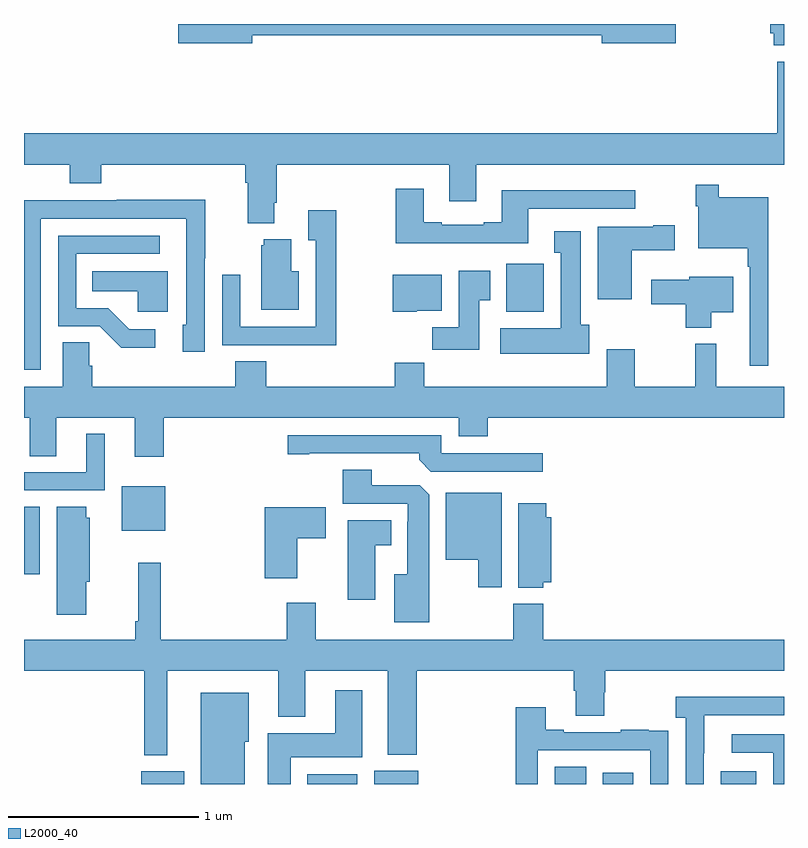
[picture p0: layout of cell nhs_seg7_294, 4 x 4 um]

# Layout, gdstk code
import gdstk
lib = gdstk.Library(unit=1e-6, precision=1e-09)
def R(c, l, rs):  # rectangles x0, y0, x1, y1
    for r in rs: c.add(gdstk.rectangle(r[:2], r[2:], *l))
def P(c, l, *ps):  # polygons
    for p in ps: c.add(gdstk.Polygon(p, *l))
L2000_40 = (2000, 40)

nhs_seg7_294 = lib.new_cell('nhs_seg7_294')
R(nhs_seg7_294, L2000_40, [(133.616,1020,133.843,1020.067), (134.492,1020,134.755,1020.052), (134.843,1020,135.076,1020.07), (135.794,1020,135.958,1020.092), (136.046,1020,136.207,1020.058), (136.667,1020,136.855,1020.067), (133,1021.104,133.084,1021.46), (133.514,1021.334,133.744,1021.567), (135.539,1022.486,135.735,1022.737)])
P(nhs_seg7_294, L2000_40, [(134.2,1023.94),(136.04,1023.94),(136.04,1023.898),(136.429,1023.898),(136.429,1024),(133.812,1024),(133.812,1023.898),(134.2,1023.898)],
  [(137,1024),(136.928,1024),(136.928,1023.951),(136.946,1023.951),(136.946,1023.887),(137,1023.887)],
  [(133,1023.26),(133.241,1023.26),(133.241,1023.161),(133.406,1023.161),(133.406,1023.26),(134.165,1023.26),(134.165,1023.164),(134.177,1023.164),(134.177,1022.951),(134.317,1022.951),(134.317,1023.058),(134.33,1023.058),(134.33,1023.26),(135.239,1023.26),(135.239,1023.066),(135.379,1023.066),(135.379,1023.26),(137,1023.26),(137,1023.802),(136.964,1023.802),(136.964,1023.424),(133,1023.424)],
  [(136.918,1023.088),(136.657,1023.088),(136.657,1023.154),(136.536,1023.154),(136.536,1023.041),(136.548,1023.041),(136.548,1022.819),(136.809,1022.819),(136.809,1022.723),(136.821,1022.723),(136.821,1022.202),(136.918,1022.202)],
  [(135.655,1023.027),(136.216,1023.027),(136.216,1023.124),(135.515,1023.124),(135.515,1022.956),(135.419,1022.956),(135.419,1022.943),(135.199,1022.943),(135.199,1022.956),(135.103,1022.956),(135.103,1023.133),(134.956,1023.133),(134.956,1022.846),(135.655,1022.846)],
  [(133.089,1022.976),(133.853,1022.976),(133.853,1022.722),(133.854,1022.722),(133.854,1022.418),(133.835,1022.418),(133.835,1022.274),(133.95,1022.274),(133.95,1022.767),(133.953,1022.767),(133.953,1023.074),(133.489,1023.074),(133.489,1023.072),(133,1023.072),(133,1022.181),(133.089,1022.181)],
  [(134.644,1023.019),(134.495,1023.019),(134.495,1022.863),(134.535,1022.863),(134.535,1022.406),(134.139,1022.406),(134.139,1022.68),(134.043,1022.68),(134.043,1022.31),(134.359,1022.31),(134.359,1022.309),(134.644,1022.309)],
  [(136.198,1022.81),(136.426,1022.81),(136.426,1022.94),(136.313,1022.94),(136.313,1022.932),(136.019,1022.932),(136.019,1022.552),(136.198,1022.552)],
  [(135.976,1022.418),(135.931,1022.418),(135.931,1022.908),(135.791,1022.908),(135.791,1022.795),(135.824,1022.795),(135.824,1022.398),(135.507,1022.398),(135.507,1022.264),(135.976,1022.264)],
  [(133.69,1022.394),(133.555,1022.394),(133.444,1022.505),(133.275,1022.505),(133.275,1022.79),(133.714,1022.79),(133.714,1022.886),(133.179,1022.886),(133.179,1022.409),(133.398,1022.409),(133.511,1022.297),(133.69,1022.297)],
  [(134.446,1022.698),(134.407,1022.698),(134.407,1022.866),(134.261,1022.866),(134.261,1022.835),(134.249,1022.835),(134.249,1022.495),(134.446,1022.495)],
  [(135.397,1022.545),(135.454,1022.545),(135.454,1022.701),(135.287,1022.701),(135.287,1022.404),(135.148,1022.404),(135.148,1022.286),(135.397,1022.286)],
  [(133.756,1022.698),(133.36,1022.698),(133.36,1022.594),(133.599,1022.594),(133.599,1022.486),(133.756,1022.486)],
  [(135.066,1022.492),(135.199,1022.492),(135.199,1022.68),(134.941,1022.68),(134.941,1022.486),(135.066,1022.486)],
  [(136.618,1022.483),(136.732,1022.483),(136.732,1022.671),(136.5,1022.671),(136.5,1022.653),(136.302,1022.653),(136.302,1022.524),(136.484,1022.524),(136.484,1022.402),(136.618,1022.402)],
  [(133.736,1021.928),(135.287,1021.928),(135.287,1021.829),(135.44,1021.829),(135.44,1021.928),(137,1021.928),(137,1022.092),(136.643,1022.092),(136.643,1022.317),(136.533,1022.317),(136.533,1022.092),(136.215,1022.092),(136.215,1022.287),(136.067,1022.287),(136.067,1022.092),(135.107,1022.092),(135.107,1022.216),(134.951,1022.216),(134.951,1022.092),(134.276,1022.092),(134.276,1022.225),(134.111,1022.225),(134.111,1022.092),(133.358,1022.092),(133.358,1022.201),(133.344,1022.201),(133.344,1022.324),(133.205,1022.324),(133.205,1022.092),(133,1022.092),(133,1021.928),(133.031,1021.928),(133.031,1021.726),(133.171,1021.726),(133.171,1021.928),(133.583,1021.928),(133.583,1021.722),(133.736,1021.722)],
  [(133.426,1021.843),(133.328,1021.843),(133.328,1021.641),(133,1021.641),(133,1021.545),(133.426,1021.545)],
  [(135.73,1021.74),(135.195,1021.74),(135.195,1021.836),(134.388,1021.836),(134.388,1021.735),(134.5,1021.735),(134.5,1021.74),(135.08,1021.74),(135.08,1021.706),(135.141,1021.644),(135.73,1021.644)],
  [(135.133,1021.523),(135.084,1021.572),(134.83,1021.572),(134.83,1021.655),(134.678,1021.655),(134.678,1021.476),(135.021,1021.476),(135.021,1021.379),(135.017,1021.379),(135.017,1021.105),(134.948,1021.105),(134.948,1020.851),(135.133,1020.851)],
  [(135.514,1021.534),(135.221,1021.534),(135.221,1021.181),(135.392,1021.181),(135.392,1021.035),(135.514,1021.035)],
  [(135.732,1021.061),(135.775,1021.061),(135.775,1021.405),(135.749,1021.405),(135.749,1021.477),(135.602,1021.477),(135.602,1021.034),(135.732,1021.034)],
  [(133.327,1021.065),(133.345,1021.065),(133.345,1021.401),(133.327,1021.401),(133.327,1021.46),(133.172,1021.46),(133.172,1020.891),(133.327,1020.891)],
  [(134.437,1021.294),(134.587,1021.294),(134.587,1021.456),(134.267,1021.456),(134.267,1021.083),(134.437,1021.083)],
  [(134.848,1021.256),(134.932,1021.256),(134.932,1021.387),(134.705,1021.387),(134.705,1020.969),(134.848,1020.969)],
  [(134.536,1020.955),(134.384,1020.955),(134.384,1020.76),(133.721,1020.76),(133.721,1021.165),(133.6,1021.165),(133.6,1020.856),(133.585,1020.856),(133.585,1020.76),(133,1020.76),(133,1020.596),(133.632,1020.596),(133.632,1020.152),(133.753,1020.152),(133.753,1020.596),(134.339,1020.596),(134.339,1020.353),(134.479,1020.353),(134.479,1020.596),(134.915,1020.596),(134.915,1020.155),(135.068,1020.155),(135.068,1020.596),(135.893,1020.596),(135.893,1020.49),(135.905,1020.49),(135.905,1020.358),(136.053,1020.358),(136.053,1020.483),(136.058,1020.483),(136.058,1020.596),(137,1020.596),(137,1020.76),(135.734,1020.76),(135.734,1020.949),(135.574,1020.949),(135.574,1020.76),(134.536,1020.76)],
  [(134.404,1020.14),(134.779,1020.14),(134.779,1020.493),(134.639,1020.493),(134.639,1020.268),(134.282,1020.268),(134.282,1020),(134.404,1020)],
  [(134.161,1020.222),(134.182,1020.222),(134.182,1020.481),(133.931,1020.481),(133.931,1020),(134.161,1020)],
  [(136.578,1020.163),(136.579,1020.163),(136.579,1020.363),(137,1020.363),(137,1020.46),(136.431,1020.46),(136.431,1020.35),(136.482,1020.35),(136.482,1020),(136.578,1020)],
  [(135.705,1020.177),(136.296,1020.177),(136.296,1020),(136.392,1020),(136.392,1020.17),(136.391,1020.17),(136.391,1020.279),(136.289,1020.279),(136.289,1020.286),(136.141,1020.286),(136.141,1020.273),(135.841,1020.273),(135.841,1020.286),(135.745,1020.286),(135.745,1020.403),(135.589,1020.403),(135.589,1020),(135.705,1020)],
  [(137,1020.261),(136.725,1020.261),(136.725,1020.165),(136.944,1020.165),(136.944,1020),(137,1020)])

lib.write_gds('nhs_seg7_294.gds')
